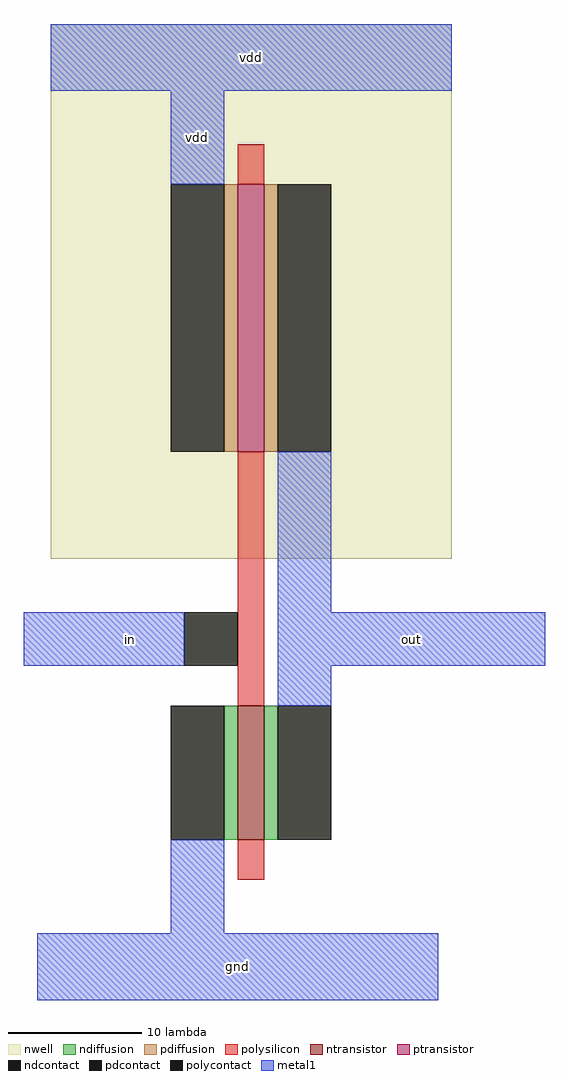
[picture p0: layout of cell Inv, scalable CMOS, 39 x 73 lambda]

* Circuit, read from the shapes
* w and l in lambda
.subckt Inv gnd in out vdd
M1 out in gnd VSUBS nfet w=10 l=2
M2 out in vdd n1 pfet w=20 l=2
.ends

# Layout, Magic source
magic
tech scmos
<< nwell >>
rect -24 -17 6 23
<< ntransistor >>
rect -10 -38 -8 -28
<< ptransistor >>
rect -10 -9 -8 11
<< ndiffusion >>
rect -11 -38 -10 -28
rect -8 -38 -7 -28
<< pdiffusion >>
rect -11 -9 -10 11
rect -8 -9 -7 11
<< ndcontact >>
rect -15 -38 -11 -28
rect -7 -38 -3 -28
<< pdcontact >>
rect -15 -9 -11 11
rect -7 -9 -3 11
<< polysilicon >>
rect -10 11 -8 14
rect -10 -28 -8 -9
rect -10 -41 -8 -38
<< polycontact >>
rect -14 -25 -10 -21
<< metal1 >>
rect -24 18 6 23
rect -15 11 -11 18
rect -7 -21 -3 -9
rect -26 -25 -14 -21
rect -7 -25 13 -21
rect -7 -28 -3 -25
rect -15 -45 -11 -38
rect -25 -50 5 -45
<< labels >>
rlabel metal1 -24 18 6 23 5 vdd
rlabel metal1 -25 -50 5 -45 1 gnd
rlabel metal1 -7 -25 13 -21 1 out
rlabel metal1 -26 -25 -10 -21 1 in
rlabel metal1 -15 11 -11 18 1 vdd
<< end >>
